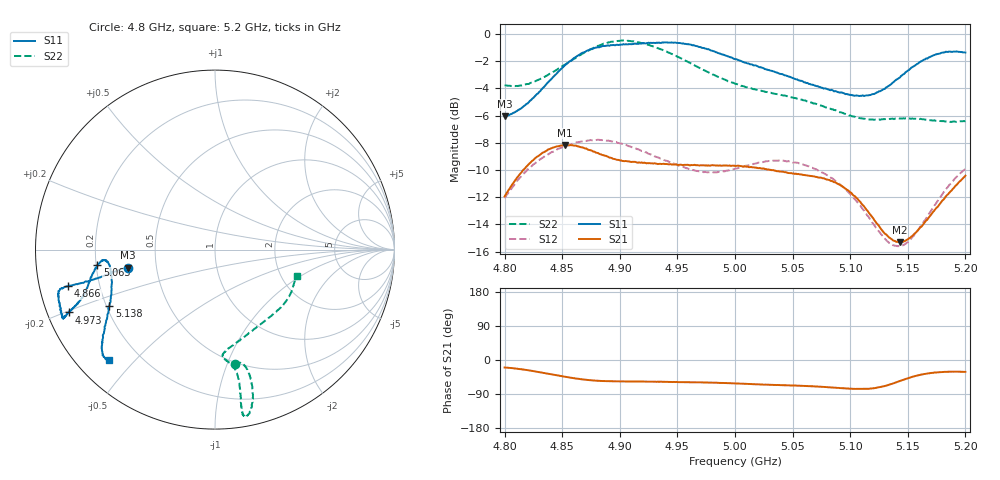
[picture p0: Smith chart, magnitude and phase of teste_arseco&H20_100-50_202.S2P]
! Network Analyzer HP8722D
! Hewlett-Packard
! Data name: Linha & Wilkinson
! Saver's name: Rodrigo Anjos
! Comments: Teste da utilização de aquisição
! continua pelo VNA HP8722D
! Time and date: 6/5/2025 14:15
!  Frequency  S11  S21  S12  S22
# HZ  S  MA R 50
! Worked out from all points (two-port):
!   401 points, 4.8 GHz to 5.2 GHz, reference 50 ohm
!   highest |S21| = -8.16 dB at 4.852 GHz (marker M1); lowest = -15.3 dB at 5.143 GHz (marker M2)
!   |S21| within 3 dB of the highest: 4.806 GHz to 5.092 GHz (286.5 MHz wide, 5.79 % of centre); 5.191552 GHz to end of sweep
!   lowest |S11| = -6.1 dB at 4.8 GHz (marker M3), VSWR 2.98, Z = 16.9 - j4.55 ohm
!   |S11| at or under -10 dB: nowhere
!   |S22| runs from -6.5 to -0.5 dB; largest |S21 - S12| = 0.62
!   S11 on the Smith chart (normalised r, x): 4.8 GHz: 0.34, -0.09; 4.866 GHz: 0.09, -0.12; 4.973 GHz: 0.06, -0.20; 5.063 GHz: 0.21, -0.06; 5.138 GHz: 0.21, -0.24; 5.2 GHz: 0.09, -0.42
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4.8e9  0.4972 -168.3  0.2528 -19.7  0.2491 -141.1  0.6478 -80.3
4.823e9  0.5713 -167.6  0.3386 -28.3  0.3252 -143.8  0.6616 -75.9
4.852e9  0.764 -165.9  0.3907 -43.9  0.3866 -149.5  0.7699 -74.6
4.866e9  0.8451 -166.0  0.3835 -50.5  0.4018 -152.0  0.8372 -75.4
4.867e9  0.8499 -166.0  0.383 -51.0  0.4023 -152.1  0.8432 -75.5
4.88e9  0.8914 -165.6  0.3657 -54.7  0.4077 -154.3  0.8995 -76.8
4.901e9  0.9132 -162.5  0.3428 -56.4  0.3957 -156.8  0.9454 -79.3
4.934e9  0.9292 -156.6  0.3327 -57.5  0.3508 -155.7  0.8822 -80.5
4.95e9  0.9272 -155.7  0.3301 -58.2  0.3291 -152.9  0.8248 -80.0
4.973e9  0.8876 -156.8  0.329 -59.5  0.3103 -146.0  0.7361 -79.7
5e9  0.808 -159.2  0.3276 -61.9  0.3195 -137.3  0.6562 -81.2
5.036e9  0.7223 -165.7  0.3131 -66.0  0.3418 -134.5  0.6013 -85.7
5.063e9  0.6609 -172.6  0.3016 -68.8  0.3267 -136.5  0.5639 -83.6
5.067e9  0.6509 -173.1  0.3001 -69.1  0.3224 -136.9  0.5583 -82.6
5.101e9  0.5963 -172.0  0.2605 -75.8  0.2548 -138.9  0.4991 -66.5
5.116e9  0.5952 -165.6  0.2207 -75.9  0.2124 -135.6  0.4849 -55.7
5.134e9  0.6464 -154.2  0.1783 -65.2  0.1703 -120.6  0.4868 -43.2
5.138e9  0.6671 -151.9  0.1736 -61.0  0.1671 -115.5  0.486 -40.8
5.143e9  0.691 -149.3  0.1714 -55.6  0.166 -108.9  0.4886 -38.1
5.154e9  0.7552 -144.4  0.181 -44.3  0.1793 -95.0  0.4887 -32.4
5.174e9  0.8391 -138.7  0.2274 -33.0  0.2364 -80.5  0.4794 -23.9
5.2e9  0.8541 -133.7  0.3011 -31.3  0.3193 -77.0  0.4778 -17.6
